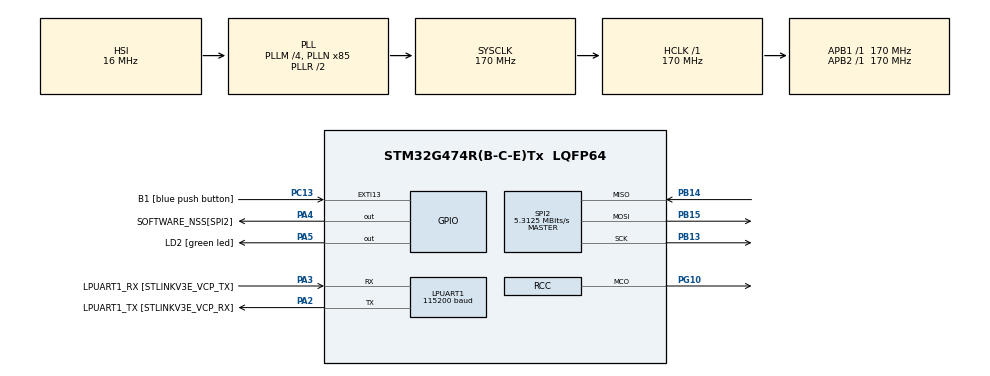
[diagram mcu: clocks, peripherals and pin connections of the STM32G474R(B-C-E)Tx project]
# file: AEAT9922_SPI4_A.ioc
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LPUART1.BaudRate=115200
Mcu.Family=STM32G4
Mcu.Name=STM32G474R(B-C-E)Tx
Mcu.Package=LQFP64
NVIC.EXTI15_10_IRQn=true\:0\:0\:false\:false\:true\:true\:true\:true
NVIC.LPUART1_IRQn=true\:0\:0\:false\:false\:true\:true\:true\:true
NVIC.PriorityGroup=NVIC_PRIORITYGROUP_4
NVIC.SPI2_IRQn=true\:0\:0\:false\:false\:true\:true\:true\:true
PA2.GPIO_Label=LPUART1_TX [STLINKV3E_VCP_RX]
PA2.Mode=Asynchronous
PA2.Signal=LPUART1_TX
PA3.GPIO_Label=LPUART1_RX [STLINKV3E_VCP_TX]
PA3.Mode=Asynchronous
PA3.Signal=LPUART1_RX
PA4.GPIO_Label=SOFTWARE_NSS[SPI2]
PA4.PinState=GPIO_PIN_SET
PA4.Signal=GPIO_Output
PA5.GPIO_Label=LD2 [green led]
PA5.Signal=GPIO_Output
PB13.Mode=Full_Duplex_Master
PB13.Signal=SPI2_SCK
PB14.Mode=Full_Duplex_Master
PB14.Signal=SPI2_MISO
PB15.Mode=Full_Duplex_Master
PB15.Signal=SPI2_MOSI
PC13.GPIO_Label=B1 [blue push button]
PC13.Signal=GPXTI13
PF0-OSC_IN.GPIO_Label=RCC_OSC_IN
PF0-OSC_IN.Mode=HSE-External-Oscillator
PF0-OSC_IN.Signal=RCC_OSC_IN
PF1-OSC_OUT.GPIO_Label=RCC_OSC_OUT
PF1-OSC_OUT.Mode=HSE-External-Oscillator
PF1-OSC_OUT.Signal=RCC_OSC_OUT
PG10-NRST.Mode=Clock-out
PG10-NRST.Signal=RCC_MCO
ProjectManager.HeapSize=0x200
ProjectManager.StackSize=0x400
ProjectManager.TargetToolchain=STM32CubeIDE
RCC.ADC12Freq_Value=170000000
RCC.ADC345Freq_Value=170000000
RCC.AHBFreq_Value=170000000
RCC.APB1Freq_Value=170000000
RCC.APB1TimFreq_Value=170000000
RCC.APB2Freq_Value=170000000
RCC.APB2TimFreq_Value=170000000
RCC.CortexFreq_Value=170000000
RCC.EXTERNAL_CLOCK_VALUE=12288000
RCC.HCLKFreq_Value=170000000
RCC.HSE_VALUE=48000000
RCC.HSI48_VALUE=48000000
RCC.HSI_VALUE=16000000
RCC.LSE_VALUE=32768
RCC.PLLM=RCC_PLLM_DIV4
RCC.PLLN=85
RCC.RTCClockSelection=RCC_RTCCLKSOURCE_LSE
RCC.SYSCLKFreq_VALUE=170000000
RCC.SYSCLKSource=RCC_SYSCLKSOURCE_PLLCLK
RCC.USBFreq_Value=170000000
RCC.VCOOutputFreq_Value=340000000
SPI2.BaudRatePrescaler=SPI_BAUDRATEPRESCALER_32
SPI2.CLKPhase=SPI_PHASE_2EDGE
SPI2.CalculateBaudRate=5.3125 MBits/s
SPI2.DataSize=SPI_DATASIZE_8BIT
SPI2.Direction=SPI_DIRECTION_2LINES
SPI2.Mode=SPI_MODE_MASTER
SPI2.VirtualType=VM_MASTER
VP_SYS_VS_DBSignals.Mode=DisableDeadBatterySignals
board=NUCLEO-G474RE

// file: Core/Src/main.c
/* USER CODE BEGIN Header */
/**
  ******************************************************************************
  * @file           : main.c
  * @brief          : Main program body
  ******************************************************************************
  * @attention
  *
  * Copyright (c) 2025 STMicroelectronics.
  * All rights reserved.
  *
  * This software is licensed under terms that can be found in the LICENSE file
  * in the root directory of this software component.
  * If no LICENSE file comes with this software, it is provided AS-IS.
  *
  ******************************************************************************
  */
/* USER CODE END Header */
#include "main.h"

/* USER CODE BEGIN Includes */
#include "AEAT9922/AEAT9922.h"
#include <stdio.h>
#include <string.h>
/* USER CODE END Includes */

/* USER CODE BEGIN PD */
#define pos_diagnostic
/* USER CODE END PD */

UART_HandleTypeDef hlpuart1;

SPI_HandleTypeDef hspi2;

/* USER CODE BEGIN PV */
AEAT9922_Reading_t reading_data;
uint8_t unlock_register_val;
uint8_t protocol_register_val;

uint8_t register7_val;
uint8_t register8_val;

uint8_t status_register_val;
/* USER CODE END PV */

void SystemClock_Config(void);
static void MX_GPIO_Init(void);
static void MX_LPUART1_UART_Init(void);
static void MX_SPI2_Init(void);

int main(void)
{

  /* MCU Configuration--------------------------------------------------------*/

  /* Reset of all peripherals, Initializes the Flash interface and the Systick. */
  HAL_Init();

  /* Configure the system clock */
  SystemClock_Config();

  /* Initialize all configured peripherals */
  MX_GPIO_Init();
  MX_LPUART1_UART_Init();
  MX_SPI2_Init();
  /* USER CODE BEGIN 2 */

  HAL_UART_Transmit(&hlpuart1, (uint8_t*)("AEAT-9922\r\n"), 12, HAL_MAX_DELAY);

#ifdef config

	AEAT9922_Write_SPI4A(0x10, UNLOCK); // Unlocks shadow registers.
	HAL_Delay(1);

	AEAT9922_Write_SPI4A(0x0B, 0x20); //Sets SPI-4(B) (actually this is the only register I cannot write on!!!)
	HAL_Delay(1);

	AEAT9922_Write_SPI4A(0x11, PROGRAM); // Ends the config. phase.
	HAL_Delay(45);

	HAL_UART_Transmit(&hlpuart1, (uint8_t*)("Restart the board\r\n"), 25, HAL_MAX_DELAY);

#endif

#ifdef regs

		// checks for some useful register values

		uint8_t unlock_register_val;
		uint8_t protocol_register_val;

		uint8_t register7_val;
		uint8_t register8_val;

		uint8_t status_register_val;

		AEAT9922_Read_SPI4A(0x10, &unlock_register_val);

		AEAT9922_Read_SPI4A(0x0B, &protocol_register_val);

		AEAT9922_Read_SPI4A(0x07, &register7_val);

		AEAT9922_Read_SPI4A(0x08, &register8_val);

		AEAT9922_Read_SPI4A(0x21, &status_register_val);

		sprintf(buf, "Read from Reg 0x%02X: Value = 0x%02X\r\n", 0x10, unlock_register_val);
		HAL_UART_Transmit(&hlpuart1, (uint8_t*)buf, strlen(buf), HAL_MAX_DELAY);

		sprintf(buf, "Read from Reg 0x%02X: Value = 0x%02X\r\n", 0x08, register8_val);
		HAL_UART_Transmit(&hlpuart1, (uint8_t*)buf, strlen(buf), HAL_MAX_DELAY);

		sprintf(buf, "Read from Reg 0x%02X: Value = 0x%02X\r\n", 0x07, register7_val);
		HAL_UART_Transmit(&hlpuart1, (uint8_t*)buf, strlen(buf), HAL_MAX_DELAY);

		sprintf(buf, "Read from Reg 0x%02X: Value = 0x%02X\r\n", 0x0B, protocol_register_val);
		HAL_UART_Transmit(&hlpuart1, (uint8_t*)buf, strlen(buf), HAL_MAX_DELAY);

		sprintf(buf, "Read from Reg 0x%02X: Value = 0x%02X\r\n", 0x21, status_register_val);
		HAL_UART_Transmit(&hlpuart1, (uint8_t*)buf, strlen(buf), HAL_MAX_DELAY);
#endif
  /* USER CODE END 2 */

  /* Infinite loop */
  /* USER CODE BEGIN WHILE */

uint8_t status_reg;
char status_msg[400];

while (1)
  {
	#ifdef pos_diagnostic

		  uint32_t tic = HAL_GetTick();
		  AEAT9922_ReadPosition_SPI4A(&reading_data); // See AEAT9922.c
		  AEAT9922_Read_SPI4A(STATUS, &status_reg);
		  uint32_t toc = HAL_GetTick();
		  uint32_t dt = toc - tic;
/*
		  if (AEAT9922_Read_SPI4A(STATUS, &status_reg) != HAL_OK) {
			  sprintf(status_msg, "Failed to read status register\r\n");
			  HAL_UART_Transmit(&hlpuart1, (uint8_t*)status_msg, strlen(status_msg), HAL_MAX_DELAY);
			  HAL_Delay(500);
		  }
*/
		  sprintf(status_msg, "Pos: %6lu | Angle: %7.2f | Parity: %s ||| STATUS: | RDY=%d | MHI=%d | MLO=%d | dt %lu| \r\n",
				  (unsigned long) reading_data.position,
				             reading_data.angle_degrees,
				    reading_data.crc_ok ? "OK" : "FAIL",
				        (status_reg & FLAG_RDY) ? 1 : 0,
				        (status_reg & FLAG_MHI) ? 1 : 0,
				        (status_reg & FLAG_MLO) ? 1 : 0,
					        					    dt);
		  HAL_UART_Transmit(&hlpuart1, (uint8_t*) status_msg, strlen(status_msg), 200);
		  HAL_Delay(50); // Loop delay for readability.
	#endif
    /* USER CODE END WHILE */

	}
}

void SystemClock_Config(void)
{
  RCC_OscInitTypeDef RCC_OscInitStruct = {0};
  RCC_ClkInitTypeDef RCC_ClkInitStruct = {0};

  /** Configure the main internal regulator output voltage
  */
  HAL_PWREx_ControlVoltageScaling(PWR_REGULATOR_VOLTAGE_SCALE1_BOOST);

  /** Initializes the RCC Oscillators according to the specified parameters
  * in the RCC_OscInitTypeDef structure.
  */
  RCC_OscInitStruct.OscillatorType = RCC_OSCILLATORTYPE_HSI;
  RCC_OscInitStruct.HSIState = RCC_HSI_ON;
  RCC_OscInitStruct.HSICalibrationValue = RCC_HSICALIBRATION_DEFAULT;
  RCC_OscInitStruct.PLL.PLLState = RCC_PLL_ON;
  RCC_OscInitStruct.PLL.PLLSource = RCC_PLLSOURCE_HSI;
  RCC_OscInitStruct.PLL.PLLM = RCC_PLLM_DIV4;
  RCC_OscInitStruct.PLL.PLLN = 85;
  RCC_OscInitStruct.PLL.PLLP = RCC_PLLP_DIV2;
  RCC_OscInitStruct.PLL.PLLQ = RCC_PLLQ_DIV2;
  RCC_OscInitStruct.PLL.PLLR = RCC_PLLR_DIV2;
  if (HAL_RCC_OscConfig(&RCC_OscInitStruct) != HAL_OK)
  {
    Error_Handler();
  }

  /** Initializes the CPU, AHB and APB buses clocks
  */
  RCC_ClkInitStruct.ClockType = RCC_CLOCKTYPE_HCLK|RCC_CLOCKTYPE_SYSCLK
                              |RCC_CLOCKTYPE_PCLK1|RCC_CLOCKTYPE_PCLK2;
  RCC_ClkInitStruct.SYSCLKSource = RCC_SYSCLKSOURCE_PLLCLK;
  RCC_ClkInitStruct.AHBCLKDivider = RCC_SYSCLK_DIV1;
  RCC_ClkInitStruct.APB1CLKDivider = RCC_HCLK_DIV1;
  RCC_ClkInitStruct.APB2CLKDivider = RCC_HCLK_DIV1;

  if (HAL_RCC_ClockConfig(&RCC_ClkInitStruct, FLASH_LATENCY_4) != HAL_OK)
  {
    Error_Handler();
  }
  HAL_RCC_MCOConfig(RCC_MCO_PG10, RCC_MCO1SOURCE_HSI, RCC_MCODIV_1);
}

static void MX_LPUART1_UART_Init(void)
{

  hlpuart1.Instance = LPUART1;
  hlpuart1.Init.BaudRate = 115200;
  hlpuart1.Init.WordLength = UART_WORDLENGTH_8B;
  hlpuart1.Init.StopBits = UART_STOPBITS_1;
  hlpuart1.Init.Parity = UART_PARITY_NONE;
  hlpuart1.Init.Mode = UART_MODE_TX_RX;
  hlpuart1.Init.HwFlowCtl = UART_HWCONTROL_NONE;
  hlpuart1.Init.OneBitSampling = UART_ONE_BIT_SAMPLE_DISABLE;
  hlpuart1.Init.ClockPrescaler = UART_PRESCALER_DIV1;
  hlpuart1.AdvancedInit.AdvFeatureInit = UART_ADVFEATURE_NO_INIT;
  if (HAL_UART_Init(&hlpuart1) != HAL_OK)
  {
    Error_Handler();
  }
  if (HAL_UARTEx_SetTxFifoThreshold(&hlpuart1, UART_TXFIFO_THRESHOLD_1_8) != HAL_OK)
  {
    Error_Handler();
  }
  if (HAL_UARTEx_SetRxFifoThreshold(&hlpuart1, UART_RXFIFO_THRESHOLD_1_8) != HAL_OK)
  {
    Error_Handler();
  }
  if (HAL_UARTEx_DisableFifoMode(&hlpuart1) != HAL_OK)
  {
    Error_Handler();
  }

}

static void MX_SPI2_Init(void)
{

  /* SPI2 parameter configuration*/
  hspi2.Instance = SPI2;
  hspi2.Init.Mode = SPI_MODE_MASTER;
  hspi2.Init.Direction = SPI_DIRECTION_2LINES;
  hspi2.Init.DataSize = SPI_DATASIZE_8BIT;
  hspi2.Init.CLKPolarity = SPI_POLARITY_LOW;
  hspi2.Init.CLKPhase = SPI_PHASE_2EDGE;
  hspi2.Init.NSS = SPI_NSS_SOFT;
  hspi2.Init.BaudRatePrescaler = SPI_BAUDRATEPRESCALER_32;
  hspi2.Init.FirstBit = SPI_FIRSTBIT_MSB;
  hspi2.Init.TIMode = SPI_TIMODE_DISABLE;
  hspi2.Init.CRCCalculation = SPI_CRCCALCULATION_DISABLE;
  hspi2.Init.CRCPolynomial = 7;
  hspi2.Init.CRCLength = SPI_CRC_LENGTH_DATASIZE;
  hspi2.Init.NSSPMode = SPI_NSS_PULSE_DISABLE;
  if (HAL_SPI_Init(&hspi2) != HAL_OK)
  {
    Error_Handler();
  }

}

static void MX_GPIO_Init(void)
{
  GPIO_InitTypeDef GPIO_InitStruct = {0};

  /* GPIO Ports Clock Enable */
  __HAL_RCC_GPIOC_CLK_ENABLE();
  __HAL_RCC_GPIOF_CLK_ENABLE();
  __HAL_RCC_GPIOG_CLK_ENABLE();
  __HAL_RCC_GPIOA_CLK_ENABLE();
  __HAL_RCC_GPIOB_CLK_ENABLE();

  /*Configure GPIO pin Output Level */
  HAL_GPIO_WritePin(SOFTWARE_NSS_GPIO_Port, SOFTWARE_NSS_Pin, GPIO_PIN_SET);

  /*Configure GPIO pin Output Level */
  HAL_GPIO_WritePin(LD2_GPIO_Port, LD2_Pin, GPIO_PIN_RESET);

  /*Configure GPIO pin : B1_Pin */
  GPIO_InitStruct.Pin = B1_Pin;
  GPIO_InitStruct.Mode = GPIO_MODE_IT_RISING;
  GPIO_InitStruct.Pull = GPIO_NOPULL;
  HAL_GPIO_Init(B1_GPIO_Port, &GPIO_InitStruct);

  /*Configure GPIO pin : PG10 */
  GPIO_InitStruct.Pin = GPIO_PIN_10;
  GPIO_InitStruct.Mode = GPIO_MODE_AF_PP;
  GPIO_InitStruct.Pull = GPIO_NOPULL;
  GPIO_InitStruct.Speed = GPIO_SPEED_FREQ_LOW;
  GPIO_InitStruct.Alternate = GPIO_AF0_MCO;
  HAL_GPIO_Init(GPIOG, &GPIO_InitStruct);

  /*Configure GPIO pins : SOFTWARE_NSS_Pin LD2_Pin */
  GPIO_InitStruct.Pin = SOFTWARE_NSS_Pin|LD2_Pin;
  GPIO_InitStruct.Mode = GPIO_MODE_OUTPUT_PP;
  GPIO_InitStruct.Pull = GPIO_NOPULL;
  GPIO_InitStruct.Speed = GPIO_SPEED_FREQ_LOW;
  HAL_GPIO_Init(GPIOA, &GPIO_InitStruct);

  /* EXTI interrupt init*/
  HAL_NVIC_SetPriority(EXTI15_10_IRQn, 0, 0);
  HAL_NVIC_EnableIRQ(EXTI15_10_IRQn);

}

void Error_Handler(void)
{
  __disable_irq();
  while (1)
  {
  }
}
